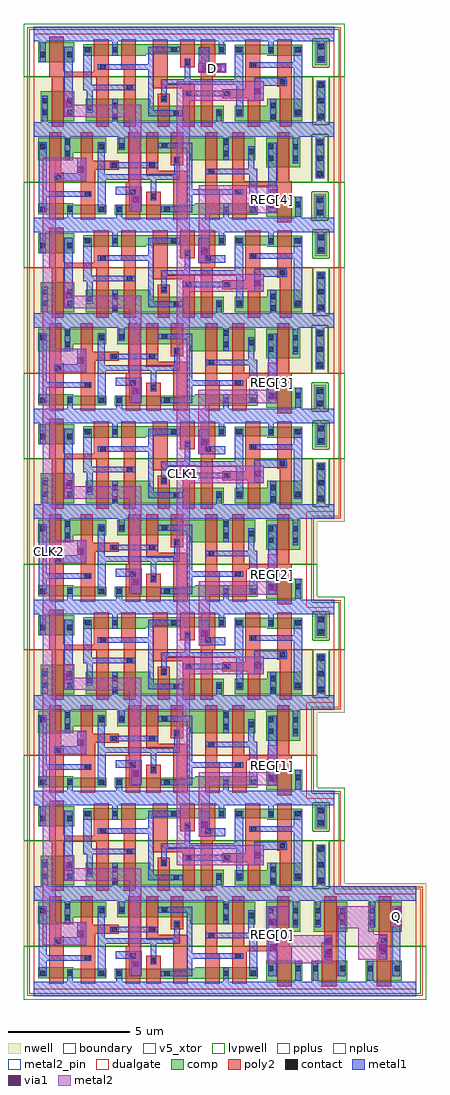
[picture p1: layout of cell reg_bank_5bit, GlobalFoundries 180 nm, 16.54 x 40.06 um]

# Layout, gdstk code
from math import pi, radians
import gdstk
lib = gdstk.Library(unit=1e-6, precision=1e-09)
def R(c, l, rs):  # rectangles x0, y0, x1, y1
    for r in rs: c.add(gdstk.rectangle(r[:2], r[2:], *l))
def A(c, l, x, y, w, h, nx, ny, dx, dy):  # array of equal rectangles
    R(c, l, [(x+i*dx, y+j*dy, x+i*dx+w, y+j*dy+h) for i in range(nx) for j in range(ny)])
def P(c, l, *ps):  # polygons
    for p in ps: c.add(gdstk.Polygon(p, *l))
boundary = (0, 0)
nwell = (21, 0)
comp = (22, 0)
poly2 = (30, 0)
pplus = (31, 0)
nplus = (32, 0)
contact = (33, 0)
metal1 = (34, 0)
via1 = (35, 0)
metal2 = (36, 0)
metal2_pin = (36, 10)
dualgate = (55, 0)
v5_xtor = (112, 1)
lvpwell = (204, 0)

gf180mcu_fd_sc_mcu7t5v0_ = lib.new_cell('gf180mcu_fd_sc_mcu7t5v0__endcap')
R(gf180mcu_fd_sc_mcu7t5v0_, boundary, [(0,0,1.12,3.92)])
R(gf180mcu_fd_sc_mcu7t5v0_, nwell, [(-0.43,1.76,1.55,4.35)])
R(gf180mcu_fd_sc_mcu7t5v0_, comp, [(0.28,0.28,0.8,1.28), (0.36,1.92,0.72,3.56)])
R(gf180mcu_fd_sc_mcu7t5v0_, pplus, [(0.2,0.2,0.88,1.36)])
P(gf180mcu_fd_sc_mcu7t5v0_, pplus, [(-0.2,1.76),(-0.2,4.12),(1.32,4.12),(1.32,1.76),(0.88,1.76),(0.88,3.72),(0.2,3.72),(0.2,1.76)])
P(gf180mcu_fd_sc_mcu7t5v0_, nplus, [(-0.2,-0.2),(-0.2,1.76),(0.2,1.76),(0.2,3.72),(0.88,3.72),(0.88,1.36),(0.2,1.36),(0.2,0.2),(0.88,0.2),(0.88,3.72),(0.88,1.76),(1.32,1.76),(1.32,-0.2)])
A(gf180mcu_fd_sc_mcu7t5v0_, contact, 0.43, 1.99, 0.22, 0.22, 1, 3, 0, 0.64)
R(gf180mcu_fd_sc_mcu7t5v0_, contact, [(0.43,0.4,0.65,0.62), (0.43,0.905,0.65,1.125)])
P(gf180mcu_fd_sc_mcu7t5v0_, metal1, [(0,-0.3),(0,0.3),(0.37,0.3),(0.37,1.19),(0.71,1.19),(0.71,0.3),(1.12,0.3),(1.12,-0.3)],
  [(0.37,1.92),(0.37,3.62),(0,3.62),(0,4.22),(1.12,4.22),(1.12,3.62),(0.71,3.62),(0.71,1.92)])
R(gf180mcu_fd_sc_mcu7t5v0_, dualgate, [(-0.28,-0.28,1.4,4.2)])
R(gf180mcu_fd_sc_mcu7t5v0_, v5_xtor, [(0,0,1.12,3.92)])
R(gf180mcu_fd_sc_mcu7t5v0_, lvpwell, [(-0.43,-0.43,1.55,1.76)])
gf180mcu_fd_sc_mcu7t5v0_.add(gdstk.Label('VSS', (0.56,-0.01), layer=34, texttype=10))
gf180mcu_fd_sc_mcu7t5v0_.add(gdstk.Label('VDD', (0.56,3.935), layer=34, texttype=10))
gf180mcu_fd_sc_mcu7t5v0_.add(gdstk.Label('& Vendor GLOBALFOUNDRIES', (0,2), layer=63, texttype=63))
gf180mcu_fd_sc_mcu7t5v0_.add(gdstk.Label('& Product GF018hv5v_mcu_sc7', (0,1.5), layer=63, texttype=63))
gf180mcu_fd_sc_mcu7t5v0_.add(gdstk.Label('& Version 2015q2v1', (0,1), layer=63, texttype=63))
gf180mcu_fd_sc_mcu7t5v0_.add(gdstk.Label('& Metric 1.00', (0,0.5), layer=63, texttype=63))

c_gf180mcu_fd_sc_mcu7t5v0_ = lib.new_cell('gf180mcu_fd_sc_mcu7t5v0__inv_1')
R(c_gf180mcu_fd_sc_mcu7t5v0_, boundary, [(0,0,2.24,3.92)])
R(c_gf180mcu_fd_sc_mcu7t5v0_, nwell, [(-0.43,1.76,2.67,4.35)])
R(c_gf180mcu_fd_sc_mcu7t5v0_, comp, [(0.18,0.34,1.66,1.16), (0.28,2.36,1.66,3.58)])
P(c_gf180mcu_fd_sc_mcu7t5v0_, poly2, [(0.62,0.12),(0.62,1.93),(0.72,1.93),(0.72,3.8),(1.22,3.8),(1.22,0.12)])
R(c_gf180mcu_fd_sc_mcu7t5v0_, pplus, [(-0.2,1.76,2.44,4.12)])
R(c_gf180mcu_fd_sc_mcu7t5v0_, nplus, [(-0.2,-0.2,2.44,1.76)])
R(c_gf180mcu_fd_sc_mcu7t5v0_, contact, [(0.25,0.735,0.47,0.955), (1.37,0.735,1.59,0.955), (0.79,1.42,1.01,1.64), (0.79,1.89,1.01,2.11), (0.35,2.63,0.57,2.85), (1.37,2.63,1.59,2.85), (0.35,3.1,0.57,3.32), (1.37,3.1,1.59,3.32)])
R(c_gf180mcu_fd_sc_mcu7t5v0_, metal1, [(1.265,0.53,1.595,3.39), (0.71,1.2,1.035,2.2)])
P(c_gf180mcu_fd_sc_mcu7t5v0_, metal1, [(0,-0.3),(0,0.3),(0.245,0.3),(0.245,1.16),(0.475,1.16),(0.475,0.3),(2.24,0.3),(2.24,-0.3)],
  [(0.345,2.53),(0.345,3.62),(0,3.62),(0,4.22),(2.24,4.22),(2.24,3.62),(0.575,3.62),(0.575,2.53)])
R(c_gf180mcu_fd_sc_mcu7t5v0_, dualgate, [(-0.28,-0.28,2.52,4.2)])
R(c_gf180mcu_fd_sc_mcu7t5v0_, v5_xtor, [(0,0,2.24,3.92)])
R(c_gf180mcu_fd_sc_mcu7t5v0_, lvpwell, [(-0.43,-0.43,2.67,1.76)])
c_gf180mcu_fd_sc_mcu7t5v0_.add(gdstk.Label('VSS', (1.12,-0.08), layer=34, texttype=10))
c_gf180mcu_fd_sc_mcu7t5v0_.add(gdstk.Label('ZN', (1.4,1.96), layer=34, texttype=10))
c_gf180mcu_fd_sc_mcu7t5v0_.add(gdstk.Label('I', (0.84,1.96), layer=34, texttype=10))
c_gf180mcu_fd_sc_mcu7t5v0_.add(gdstk.Label('VDD', (1.12,3.92), layer=34, texttype=10))
c_gf180mcu_fd_sc_mcu7t5v0_.add(gdstk.Label('& Vendor GLOBALFOUNDRIES', (0,2), layer=63, texttype=63))
c_gf180mcu_fd_sc_mcu7t5v0_.add(gdstk.Label('& Product GF018hv5v_mcu_sc7', (0,1.5), layer=63, texttype=63))
c_gf180mcu_fd_sc_mcu7t5v0_.add(gdstk.Label('& Version 2015q2v1', (0,1), layer=63, texttype=63))
c_gf180mcu_fd_sc_mcu7t5v0_.add(gdstk.Label('& Metric 1.00', (0,0.5), layer=63, texttype=63))
c_gf180mcu_fd_sc_mcu7t5v0_.add(gdstk.Label('VNW', (0.345,3.92), layer=21, texttype=10))
c_gf180mcu_fd_sc_mcu7t5v0_.add(gdstk.Label('VPW', (0.34,-0.085), layer=204, texttype=10))

c_gf180mcu_fd_sc_mcu7t5v0__ = lib.new_cell('gf180mcu_fd_sc_mcu7t5v0__latq_1')
R(c_gf180mcu_fd_sc_mcu7t5v0__, boundary, [(0,0,11.2,3.92)])
R(c_gf180mcu_fd_sc_mcu7t5v0__, nwell, [(-0.43,1.76,11.63,4.35)])
R(c_gf180mcu_fd_sc_mcu7t5v0__, comp, [(9.54,0.34,11.02,1.16), (9.54,2.36,10.92,3.58)])
P(c_gf180mcu_fd_sc_mcu7t5v0__, comp, [(0.18,0.435),(0.18,0.895),(1.62,0.895),(1.62,0.825),(2.96,0.825),(2.96,0.435)],
  [(0.18,2.66),(0.18,3.58),(2.96,3.58),(2.96,2.955),(1.62,2.955),(1.62,2.66)],
  [(6.42,2.655),(6.42,2.95),(3.42,2.95),(3.42,3.58),(9.08,3.58),(9.08,2.655)],
  [(3.32,0.43),(3.32,0.825),(6.62,0.825),(6.62,0.895),(9.18,0.895),(9.18,0.43)])
R(c_gf180mcu_fd_sc_mcu7t5v0__, poly2, [(4.6,0.21,5.2,1.36), (5.62,2.46,6.12,3.8)])
P(c_gf180mcu_fd_sc_mcu7t5v0__, poly2, [(0.62,0.21),(0.62,3.8),(1.12,3.8),(1.12,2.165),(1.22,2.165),(1.22,0.21)],
  [(1.92,0.21),(1.92,3.8),(2.42,3.8),(2.42,2.63),(3.475,2.63),(3.475,2.27),(2.52,2.27),(2.52,0.21)],
  [(3.76,0.21),(3.76,1.76),(3.86,1.76),(3.86,3.8),(4.36,3.8),(4.36,0.21)],
  [(5.72,0.21),(5.72,2.02),(4.6,2.02),(4.6,3.8),(5.1,3.8),(5.1,2.22),(6.32,2.22),(6.32,0.21)],
  [(7.02,0.21),(7.02,3.8),(7.52,3.8),(7.52,1.47),(7.62,1.47),(7.62,0.21)],
  [(9.98,0.12),(9.98,1.555),(8.74,1.555),(8.74,0.21),(8.14,0.21),(8.14,3.8),(8.64,3.8),(8.64,1.785),(9.98,1.785),(9.98,3.8),(10.48,3.8),(10.48,1.785),(10.58,1.785),(10.58,0.12)])
R(c_gf180mcu_fd_sc_mcu7t5v0__, pplus, [(-0.2,1.76,11.4,4.12)])
R(c_gf180mcu_fd_sc_mcu7t5v0__, nplus, [(-0.2,-0.2,11.4,1.76)])
R(c_gf180mcu_fd_sc_mcu7t5v0__, contact, [(0.25,0.535,0.47,0.755), (1.37,0.535,1.59,0.755), (2.67,0.535,2.89,0.755), (3.39,0.535,3.61,0.755), (5.35,0.535,5.57,0.755), (7.77,0.535,7.99,0.755), (8.89,0.535,9.11,0.755), (9.61,0.735,9.83,0.955), (10.73,0.735,10.95,0.955), (4.79,1.07,5.01,1.29), (2.08,1.165,2.3,1.385), (3.95,1.25,4.17,1.47), (8.26,1.25,8.48,1.47), (0.9,1.85,1.12,2.07), (7.165,2.08,7.385,2.3), (3.185,2.34,3.405,2.56), (4.74,2.34,4.96,2.56), (5.76,2.53,5.98,2.75), (9.61,2.63,9.83,2.85), (10.63,2.63,10.85,2.85), (1.27,2.82,1.49,3.04), (7.77,2.82,7.99,3.04), (8.79,2.905,9.01,3.125), (9.61,3.1,9.83,3.32), (10.63,3.1,10.85,3.32), (0.25,3.11,0.47,3.33), (2.67,3.11,2.89,3.33), (3.49,3.145,3.71,3.365), (5.25,3.145,5.47,3.365), (1.27,3.29,1.49,3.51), (7.77,3.29,7.99,3.51)])
R(c_gf180mcu_fd_sc_mcu7t5v0__, metal1, [(9.605,0.53,9.96,3.38), (3.125,2.335,5.1,2.565)])
P(c_gf180mcu_fd_sc_mcu7t5v0__, metal1, [(0.825,1.8),(0.825,2.12),(1.77,2.12),(1.77,2.75),(2.15,2.75),(2.15,1.8)],
  [(0.19,0.53),(0.19,3.39),(0.53,3.39),(0.53,1.39),(2.36,1.39),(2.36,1.16),(0.53,1.16),(0.53,0.53)],
  [(4,0.55),(4,1.24),(3.35,1.24),(3.35,1.56),(4.43,1.56),(4.43,0.55)],
  [(2.61,0.53),(2.61,3.39),(2.895,3.39),(2.895,2.085),(5.755,2.085),(5.755,2.81),(5.985,2.81),(5.985,1.855),(5.015,1.855),(5.015,1.01),(4.785,1.01),(4.785,1.855),(2.95,1.855),(2.95,0.53)],
  [(5.2,0.53),(5.2,0.76),(6.275,0.76),(6.275,3.14),(5.1,3.14),(5.1,3.37),(6.505,3.37),(6.505,1.475),(8.58,1.475),(8.58,1.245),(6.505,1.245),(6.505,0.53)],
  [(8.83,0.53),(8.83,2.075),(7.025,2.075),(7.025,2.305),(8.785,2.305),(8.785,3.225),(9.035,3.225),(9.035,2.305),(9.17,2.305),(9.17,0.53)],
  [(0,-0.3),(0,0.3),(1.365,0.3),(1.365,0.815),(1.595,0.815),(1.595,0.3),(3.385,0.3),(3.385,0.825),(3.615,0.825),(3.615,0.3),(7.765,0.3),(7.765,0.895),(7.995,0.895),(7.995,0.3),(10.725,0.3),(10.725,1.16),(10.955,1.16),(10.955,0.3),(11.2,0.3),(11.2,-0.3)],
  [(10.625,2.53),(10.625,3.62),(7.995,3.62),(7.995,2.655),(7.765,2.655),(7.765,3.62),(3.715,3.62),(3.715,3.085),(3.485,3.085),(3.485,3.62),(1.495,3.62),(1.495,2.66),(1.265,2.66),(1.265,3.62),(0,3.62),(0,4.22),(11.2,4.22),(11.2,3.62),(10.855,3.62),(10.855,2.53)])
R(c_gf180mcu_fd_sc_mcu7t5v0__, dualgate, [(-0.28,-0.28,11.48,4.2)])
R(c_gf180mcu_fd_sc_mcu7t5v0__, v5_xtor, [(0,0,11.2,3.92)])
R(c_gf180mcu_fd_sc_mcu7t5v0__, lvpwell, [(-0.43,-0.43,11.63,1.76)])
c_gf180mcu_fd_sc_mcu7t5v0__.add(gdstk.Label('Q', (9.8,1.96), layer=34, texttype=10))
c_gf180mcu_fd_sc_mcu7t5v0__.add(gdstk.Label('VDD', (5.6,3.92), layer=34, texttype=10))
c_gf180mcu_fd_sc_mcu7t5v0__.add(gdstk.Label('VSS', (5.6,0), layer=34, texttype=10))
c_gf180mcu_fd_sc_mcu7t5v0__.add(gdstk.Label('D', (4.2,0.84), layer=34, texttype=10))
c_gf180mcu_fd_sc_mcu7t5v0__.add(gdstk.Label('E', (1.4,1.96), layer=34, texttype=10))
c_gf180mcu_fd_sc_mcu7t5v0__.add(gdstk.Label('& Vendor GLOBALFOUNDRIES', (0,2), layer=63, texttype=63))
c_gf180mcu_fd_sc_mcu7t5v0__.add(gdstk.Label('& Product GF018hv5v_mcu_sc7', (0,1.5), layer=63, texttype=63))
c_gf180mcu_fd_sc_mcu7t5v0__.add(gdstk.Label('& Version 2015q2v1', (0,1), layer=63, texttype=63))
c_gf180mcu_fd_sc_mcu7t5v0__.add(gdstk.Label('& Metric 1.00', (0,0.5), layer=63, texttype=63))
c_gf180mcu_fd_sc_mcu7t5v0__.add(gdstk.Label('VNW', (0.345,3.92), layer=21, texttype=10))
c_gf180mcu_fd_sc_mcu7t5v0__.add(gdstk.Label('VPW', (0.34,-0.085), layer=204, texttype=10))

reg_bank_5bit = lib.new_cell('reg_bank_5bit')
R(reg_bank_5bit, nwell, [(14.01,-35.24,14.26,-35.14), (13.245,-29.07,13.39,-27.595)])
A(reg_bank_5bit, pplus, 2.07, -37.41, 0.27, 0.07, 1, 5, 0, 7.84)
A(reg_bank_5bit, pplus, 4.6, -37.41, 0.98, 0.07, 1, 5, 0, 7.84)
A(reg_bank_5bit, pplus, 8.3, -37.41, 0.44, 0.07, 1, 5, 0, 7.84)
A(reg_bank_5bit, pplus, 10.82, -37.41, 0.88, 0.07, 1, 5, 0, 7.84)
A(reg_bank_5bit, pplus, 2.07, -37.12, 0.37, 0.07, 1, 5, 0, 7.84)
A(reg_bank_5bit, pplus, 3.4, -37.12, 0.88, 0.07, 1, 5, 0, 7.84)
A(reg_bank_5bit, pplus, 6.36, -37.12, 0.44, 0.07, 1, 5, 0, 7.84)
A(reg_bank_5bit, pplus, 9.52, -37.12, 0.98, 0.07, 1, 5, 0, 7.84)
A(reg_bank_5bit, pplus, 12.66, -29.57, 0.37, 0.07, 1, 4, 0, 7.84)
A(reg_bank_5bit, pplus, 2.07, -29.5, 10.96, 0.22, 1, 4, 0, 7.84)
A(reg_bank_5bit, pplus, 12.76, -29.28, 0.27, 0.07, 1, 4, 0, 7.84)
R(reg_bank_5bit, pplus, [(13.03,-38.95,13.27,-37.41), (12.66,-37.41,13.13,-37.34), (2.07,-37.34,13.13,-37.12), (12.76,-37.12,13.13,-37.05)])
A(reg_bank_5bit, nplus, 11.33, -33.515, 1.43, 0.315, 1, 4, 0, 7.84)
A(reg_bank_5bit, nplus, 5.48, -33.51, 4.14, 0.4, 1, 4, 0, 7.84)
A(reg_bank_5bit, nplus, 3.4, -33.49, 0.37, 0.07, 1, 4, 0, 7.84)
A(reg_bank_5bit, nplus, 2.34, -33.42, 1.43, 0.315, 1, 4, 0, 7.84)
A(reg_bank_5bit, nplus, 11.33, -33.2, 0.37, 0.07, 1, 4, 0, 7.84)
R(reg_bank_5bit, nplus, [(13.13,-40.97,13.17,-39.83)])
A(reg_bank_5bit, metal1, 5.95, -32.65, 0.35, 0.7, 1, 4, 0, 7.85)
R(reg_bank_5bit, metal1, [(5.95,-40.48,6.3,-39.78), (13.9,-39.885,14.16,-39.05), (11.6,-39.8,11.9,-38.05), (16.135,-39.8,16.395,-39.1), (3.72,-39.25,4,-38.53), (14.45,-38.55,14.71,-37.85), (16.7,-38.55,16.96,-37.9), (3.25,-36.55,3.515,-35.8), (11,-35.95,11.265,-35.35), (8.805,-34.745,9.105,-34.045), (11.605,-32.65,11.905,-31.845), (3.72,-31.4,4,-30.68), (3.25,-28.72,3.515,-27.97), (11.005,-28.095,11.3,-27.605), (8.805,-26.91,9.105,-26.21), (11.605,-24.81,11.905,-24.01), (3.72,-23.555,4,-22.835), (3.25,-20.87,3.515,-20.12), (11,-20.25,11.275,-19.745), (8.8,-19.05,9.1,-18.35), (11.6,-16.95,11.9,-16.15), (3.72,-15.715,4,-14.995), (3.25,-13.05,3.515,-12.3), (11,-12.43,11.275,-11.925), (8.805,-11.205,9.105,-10.505), (11.605,-9.105,11.905,-8.305), (3.72,-7.87,4,-7.15), (3.25,-5.2,3.55,-4.45), (11,-4.55,11.275,-4.045), (8.85,-3.5,9.65,-3.2)])
A(reg_bank_5bit, via1, 11.62, -39.575, 0.26, 0.26, 1, 3, 0, 0.52)
A(reg_bank_5bit, via1, 5.995, -32.43, 0.26, 0.26, 1, 4, 0, 7.85)
R(reg_bank_5bit, via1, [(5.995,-40.26,6.255,-40), (13.9,-39.86,14.16,-39.6), (16.135,-39.58,16.395,-39.32), (13.9,-39.34,14.16,-39.08), (3.73,-39.02,3.99,-38.76), (16.7,-38.355,16.96,-38.095), (14.45,-38.33,14.71,-38.07), (3.25,-36.305,3.51,-36.045), (11,-35.78,11.26,-35.52), (8.825,-34.525,9.085,-34.265), (11.625,-32.64,11.885,-32.38), (11.625,-32.12,11.885,-31.86), (3.73,-31.17,3.99,-30.91), (3.25,-28.475,3.51,-28.215), (11.02,-27.98,11.28,-27.72), (8.825,-26.69,9.085,-26.43), (11.625,-24.8,11.885,-24.54), (11.625,-24.28,11.885,-24.02), (3.73,-23.325,3.99,-23.065), (3.25,-20.625,3.51,-20.365), (11.005,-20.13,11.265,-19.87), (8.82,-18.83,9.08,-18.57), (11.62,-16.94,11.88,-16.68), (11.62,-16.42,11.88,-16.16), (3.73,-15.485,3.99,-15.225), (3.25,-12.805,3.51,-12.545), (11.005,-12.31,11.265,-12.05), (8.825,-10.985,9.085,-10.725), (11.625,-9.095,11.885,-8.835), (11.625,-8.575,11.885,-8.315), (3.73,-7.64,3.99,-7.38), (3.25,-4.955,3.51,-4.695), (11.005,-4.43,11.265,-4.17), (8.86,-3.48,9.12,-3.22), (9.38,-3.48,9.64,-3.22)])
R(reg_bank_5bit, metal2, [(5.85,-40.63,6.35,-36.71), (11.5,-40.1,14.2,-38.95), (15.25,-39.95,16.45,-38.9), (2.3,-39.355,4.1,-38.4), (11.5,-38.95,11.95,-38.5), (15.25,-38.9,15.9,-38.65), (14.4,-38.65,15.9,-37.75), (16.65,-38.6,17,-37.75), (11.5,-38.5,12.4,-37.75), (2.3,-38.4,2.85,-31.51), (4.1,-36.71,6.35,-36.7), (3.2,-36.7,6.35,-36.2), (3.2,-36.2,3.6,-35.65), (7.8,-36.065,11.38,-35.245), (7.8,-35.245,8.35,-28.23), (8.705,-34.895,9.155,-32.795), (5.85,-32.8,6.35,-28.88), (8.705,-32.795,11.955,-32.245), (11.555,-32.245,11.955,-31.145), (2.3,-31.51,4.1,-30.555), (2.3,-30.555,2.85,-23.675), (4.1,-28.88,6.35,-28.87), (3.2,-28.87,6.35,-28.37), (3.2,-28.37,3.6,-27.82), (7.8,-28.23,11.38,-27.505), (7.8,-27.505,8.35,-20.4), (8.705,-27.06,9.155,-24.96), (8.705,-24.96,11.955,-24.41), (5.85,-24.95,6.35,-21.03), (11.555,-24.41,11.955,-24.05), (11.55,-24.05,11.955,-23.3), (2.3,-23.675,4.1,-22.72), (2.3,-22.72,2.85,-15.83), (4.1,-21.03,6.35,-21.02), (3.2,-21.02,6.35,-20.52), (3.2,-20.52,3.6,-19.97), (7.8,-20.4,11.38,-19.675), (7.8,-19.675,8.35,-12.54), (8.7,-19.2,9.15,-17.1), (5.85,-17.1,6.35,-13.21), (8.7,-17.1,11.95,-16.55), (11.55,-16.55,11.95,-15.45), (2.3,-15.83,4.1,-14.875), (2.3,-14.875,2.85,-7.99), (4.1,-13.21,6.35,-13.2), (3.2,-13.2,6.35,-12.7), (3.2,-12.7,3.6,-12.15), (7.8,-12.54,11.38,-11.815), (7.8,-11.815,8.35,-4.7), (8.705,-11.355,9.155,-11.35), (8.7,-11.35,9.155,-10.35), (8.705,-10.35,9.155,-9.3), (11.505,-9.305,11.965,-9.3), (8.705,-9.3,11.965,-8.15), (5.85,-9.25,6.35,-5.36), (2.3,-7.99,4.1,-7.035), (4.1,-5.36,6.35,-5.35), (3.2,-5.35,6.35,-4.85), (3.2,-4.85,3.6,-4.3), (7.8,-4.7,11.375,-3.9), (8.7,-3.55,9.85,-3.15)])
A(reg_bank_5bit, metal2_pin, 11.55, -32.8, 0.4, 1.65, 1, 3, 0, 7.85)
R(reg_bank_5bit, metal2_pin, [(11.5,-40.1,11.95,-37.75), (2.3,-39.355,2.85,-7.035), (16.65,-38.6,17,-37.75), (7.8,-36.065,8.35,-3.9), (11.505,-9.305,11.965,-8.15), (8.7,-3.55,9.85,-3.15)])
A(reg_bank_5bit, dualgate, 1.99, -37.33, 0.18, 0.16, 1, 5, 0, 7.84)
A(reg_bank_5bit, dualgate, 4.77, -37.33, 0.64, 0.04, 1, 5, 0, 7.84)
A(reg_bank_5bit, dualgate, 10.99, -37.33, 0.54, 0.04, 1, 5, 0, 7.84)
A(reg_bank_5bit, dualgate, 1.99, -37.17, 0.28, 0.04, 1, 5, 0, 7.84)
A(reg_bank_5bit, dualgate, 3.57, -37.17, 0.54, 0.04, 1, 5, 0, 7.84)
A(reg_bank_5bit, dualgate, 9.69, -37.17, 0.64, 0.04, 1, 5, 0, 7.84)
A(reg_bank_5bit, dualgate, 13.21, -37.11, 0.1, 1.38, 1, 5, 0, 7.84)
A(reg_bank_5bit, dualgate, 12.93, -35.73, 0.38, 0.16, 1, 5, 0, 7.84)
A(reg_bank_5bit, dualgate, 12.93, -34.605, 0.3, 0.16, 1, 5, 0, 7.84)
A(reg_bank_5bit, dualgate, 13.21, -34.445, 0.02, 0.94, 1, 5, 0, 7.84)
A(reg_bank_5bit, dualgate, 12.93, -33.505, 0.3, 0.155, 1, 5, 0, 7.84)
A(reg_bank_5bit, dualgate, 9.79, -33.5, 0.44, 0.155, 1, 4, 0, 7.84)
A(reg_bank_5bit, dualgate, 1.89, -33.41, 0.28, 0.295, 1, 4, 0, 7.84)
A(reg_bank_5bit, dualgate, 3.57, -33.41, 0.44, 0.07, 1, 4, 0, 7.84)
A(reg_bank_5bit, dualgate, 9.79, -33.345, 1.74, 0.005, 1, 4, 0, 7.84)
A(reg_bank_5bit, dualgate, 3.57, -33.34, 7.96, 0.06, 1, 4, 0, 7.84)
A(reg_bank_5bit, dualgate, 3.57, -33.28, 1.74, 0.005, 1, 4, 0, 7.84)
A(reg_bank_5bit, dualgate, 11.09, -33.28, 0.44, 0.07, 1, 4, 0, 7.84)
A(reg_bank_5bit, dualgate, 4.87, -33.275, 0.44, 0.155, 1, 4, 0, 7.84)
R(reg_bank_5bit, dualgate, [(15.05,-41.05,15.33,-39.75), (13.11,-39.03,13.19,-37.33), (15.05,-39.03,15.43,-37.33), (12.83,-37.33,13.47,-37.29), (12.93,-37.29,13.47,-37.17), (12.93,-37.17,14.15,-37.13), (13.21,-37.13,14.15,-37.11), (12.93,-33.35,13.21,-33.21), (12.83,-29.49,13.11,-29.45), (12.93,-29.45,13.11,-29.29), (12.93,-25.51,13.21,-25.37), (12.83,-21.65,13.11,-21.61), (12.93,-21.61,13.11,-21.45), (12.93,-17.67,14.19,-17.59), (12.93,-17.59,13.19,-17.53), (12.93,-16.23,13.19,-16.11), (12.93,-16.11,13.27,-16.07), (13.11,-15.51,13.27,-13.83), (13.11,-13.83,14.11,-13.81), (12.83,-13.81,14.11,-13.77), (12.93,-13.77,14.11,-13.61), (13.21,-13.61,14.11,-13.59), (12.93,-9.83,14.19,-9.75), (12.93,-9.75,13.19,-9.69), (12.93,-8.39,13.19,-8.27), (12.93,-8.27,13.27,-8.23), (13.11,-7.67,13.27,-5.99), (13.11,-5.99,14.11,-5.97), (12.83,-5.97,14.11,-5.93), (12.93,-5.93,14.11,-5.77), (13.21,-5.77,14.11,-5.75)])
reg_bank_5bit.add(gdstk.Reference(gf180mcu_fd_sc_mcu7t5v0_, (14.27,-33.31), rotation=pi))
reg_bank_5bit.add(gdstk.Reference(c_gf180mcu_fd_sc_mcu7t5v0_, (13.15,-41.15)))
reg_bank_5bit.add(gdstk.Reference(c_gf180mcu_fd_sc_mcu7t5v0_, (15.39,-41.15)))
reg_bank_5bit.add(gdstk.Reference(c_gf180mcu_fd_sc_mcu7t5v0__, (13.15,-33.31), rotation=pi))
reg_bank_5bit.add(gdstk.Reference(c_gf180mcu_fd_sc_mcu7t5v0__, (1.95,-41.15)))
reg_bank_5bit.add(gdstk.Reference(c_gf180mcu_fd_sc_mcu7t5v0__, (1.95,-33.31)))
reg_bank_5bit.add(gdstk.Reference(gf180mcu_fd_sc_mcu7t5v0_, (14.27,-25.47), rotation=pi))
reg_bank_5bit.add(gdstk.Reference(c_gf180mcu_fd_sc_mcu7t5v0__, (13.15,-25.47), rotation=pi))
reg_bank_5bit.add(gdstk.Reference(c_gf180mcu_fd_sc_mcu7t5v0__, (1.95,-25.47)))
reg_bank_5bit.add(gdstk.Reference(gf180mcu_fd_sc_mcu7t5v0_, (13.15,-17.63)))
reg_bank_5bit.add(gdstk.Reference(gf180mcu_fd_sc_mcu7t5v0_, (14.27,-17.63), rotation=pi))
reg_bank_5bit.add(gdstk.Reference(c_gf180mcu_fd_sc_mcu7t5v0__, (1.95,-17.63)))
reg_bank_5bit.add(gdstk.Reference(c_gf180mcu_fd_sc_mcu7t5v0__, (13.15,-17.63), rotation=pi))
reg_bank_5bit.add(gdstk.Reference(gf180mcu_fd_sc_mcu7t5v0_, (14.27,-9.79), rotation=pi))
reg_bank_5bit.add(gdstk.Reference(c_gf180mcu_fd_sc_mcu7t5v0__, (13.15,-9.79), rotation=pi))
reg_bank_5bit.add(gdstk.Reference(gf180mcu_fd_sc_mcu7t5v0_, (13.15,-9.79)))
reg_bank_5bit.add(gdstk.Reference(c_gf180mcu_fd_sc_mcu7t5v0__, (1.95,-9.79)))
reg_bank_5bit.add(gdstk.Reference(gf180mcu_fd_sc_mcu7t5v0_, (14.27,-1.95), rotation=pi))
reg_bank_5bit.add(gdstk.Reference(c_gf180mcu_fd_sc_mcu7t5v0__, (13.15,-1.95), rotation=pi))
reg_bank_5bit.add(gdstk.Label('REG[4]', (11.735,-8.727), layer=36, texttype=10))
reg_bank_5bit.add(gdstk.Label('REG[3]', (11.75,-16.275), layer=36, texttype=10))
reg_bank_5bit.add(gdstk.Label('REG[2]', (11.75,-24.125), layer=36, texttype=10))
reg_bank_5bit.add(gdstk.Label('REG[1]', (11.75,-31.975), layer=36, texttype=10))
reg_bank_5bit.add(gdstk.Label('REG[0]', (11.725,-38.925), layer=36, texttype=10))
reg_bank_5bit.add(gdstk.Label('D', (9.275,-3.35), layer=36, texttype=10))
reg_bank_5bit.add(gdstk.Label('Q', (16.825,-38.175), layer=36, texttype=10))
reg_bank_5bit.add(gdstk.Label('CLK2', (2.575,-23.195), layer=36, texttype=10))
reg_bank_5bit.add(gdstk.Label('CLK1', (8.075,-19.982), layer=36, texttype=10))

lib.write_gds('reg_bank_5bit.gds')
